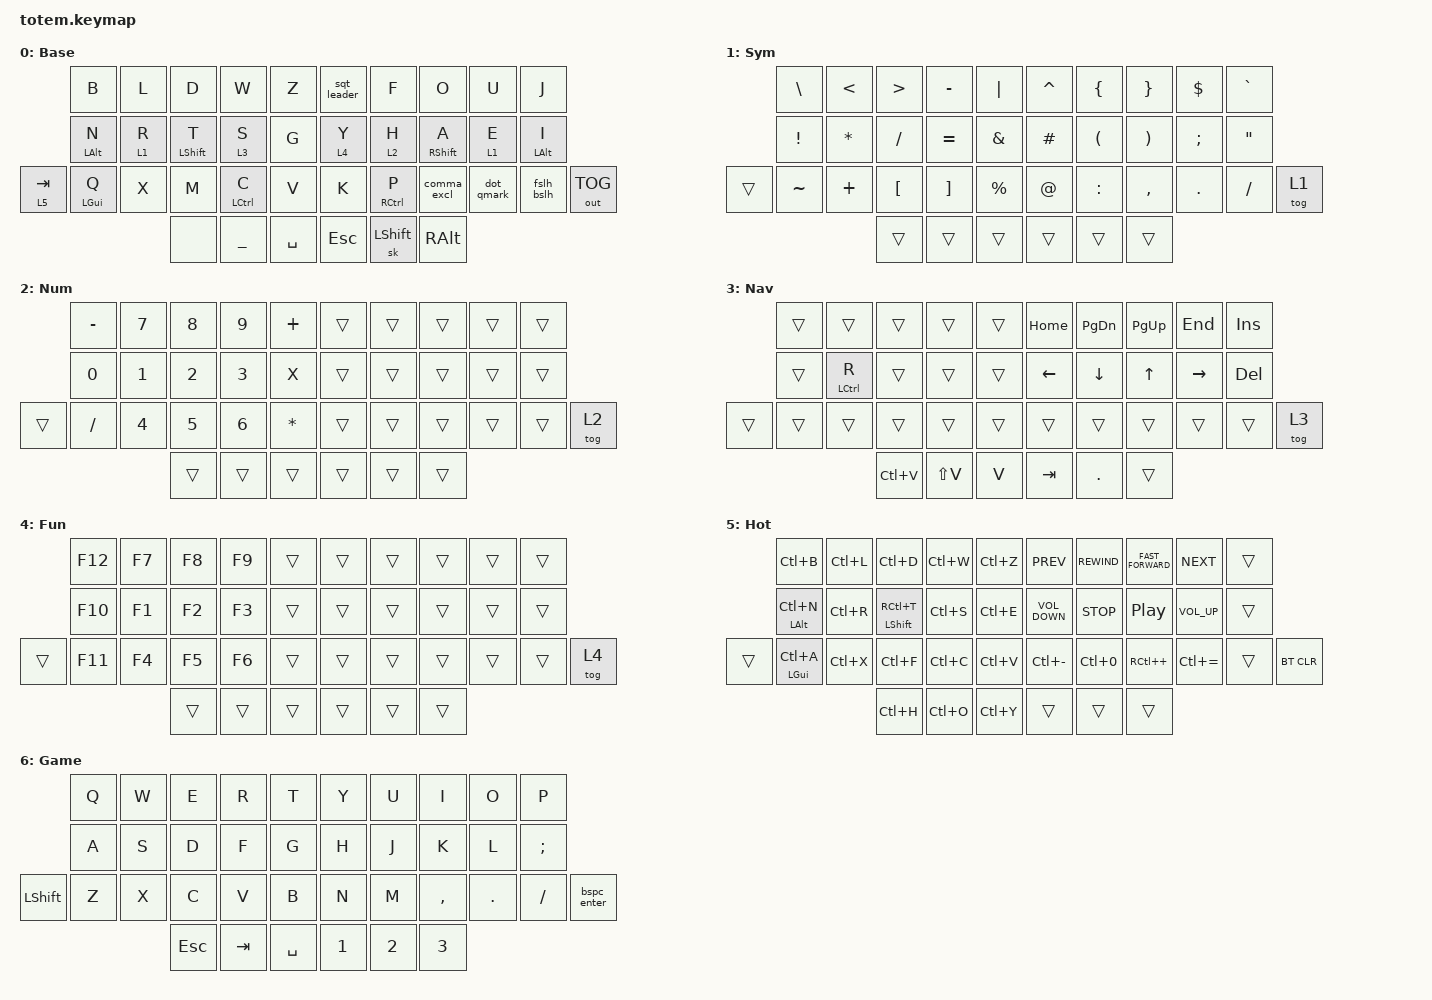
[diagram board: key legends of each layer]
#include <dt-bindings/zmk/bt.h>
#include <dt-bindings/zmk/keys.h>
#include <dt-bindings/zmk/outputs.h>
#include <behaviors.dtsi>
#include <behaviors/battery_percentage_printer.dtsi>
#include "leader.dtsi"

//
//                                                        ▀▀▀▀▀     ▀▀▀▀▀          ▀▀█▀▀
//                                                        ▄▀▀▀▄  ▄  ▄▀▀▀▄  ▄  ▄▀▀▀▄  █  ▄▀▀▀▄
//                                                        █   █  █  █   █  █  █   █  █  █   █
//                                                         ▀▀▀   █   ▀▀▀   █   ▀▀▀   ▀   ▀▀▀
//                                                               █      ▄▄▄█▄▄▄    █   █
//                                                               ▀      █  █  █     █▄█
//                                                             ▀▀▀▀▀    █  █  █      ▀
//                                                                      ▀  ▀  ▀
//
// ▄▄▄▄▄▄▄▄▄▄▄▄▄▄▄▄▄▄▄▄▄▄▄▄▄▄▄▄▄▄▄▄▄▄▄▄▄▄▄▄▄▄▄▄▄▄▄▄▄▄▄▄▄▄▄▄▄▄▄▄▄▄▄▄▄▄▄▄▄▄▄▄▄▄▄▄▄▄▄▄▄▄▄▄▄▄▄▄▄▄▄▄▄▄▄▄▄▄▄▄▄▄▄▄▄▄▄▄▄▄▄▄▄▄▄▄▄▄▄▄▄▄▄▄▄▄▄▄▄▄▄▄▄▄▄▄▄▄▄▄▄▄▄▄▄▄▄▄▄

#define Base        0
#define Nav         1
#define Sym         2
#define Fun         3
#define Game        4

&mt {
    flavor = "balanced";
    tapping-term-ms = <200>;
};

&lt {
    tapping-term-ms = <200>;
    flavor = "balanced";
};

&sk {
    quick-release;
    release-after-ms = <1500>;
};

/ {
    behaviors {
        comma_excl: comma_excl {
            compatible = "zmk,behavior-mod-morph";
            label = "COMMA_EXCL";
            bindings = <&kp COMMA>, <&kp EXCL>;

            #binding-cells = <0>;
            mods = <(MOD_LSFT|MOD_RSFT)>;
        };

        dot_qmark: dot_qmark {
            compatible = "zmk,behavior-mod-morph";
            label = "DOT_QMARK";
            bindings = <&kp DOT>, <&kp QUESTION>;

            #binding-cells = <0>;
            mods = <(MOD_LSFT|MOD_RSFT)>;
        };

        fslh_bslh: fslh_bslh {
            compatible = "zmk,behavior-mod-morph";
            label = "FSLH_BSLH";
            bindings = <&hmr RGUI SLASH>, <&hmr RGUI BACKSLASH>;

            #binding-cells = <0>;
            mods = <(MOD_LSFT|MOD_RSFT)>;
        };

        rep_adapt: rep_adapt {
            compatible = "zmk,behavior-adaptive-key";
            #binding-cells = <0>;
            bindings = <&key_repeat>;

            ao {
                trigger-keys = <A>;
                bindings = <&kp O>;
            };

            oa {
                trigger-keys = <O>;
                bindings = <&kp A>;
            };

            ue {
                trigger-keys = <U>;
                bindings = <&kp E>;
            };

            eu {
                trigger-keys = <E>;
                bindings = <&kp U>;
            };

            br {
                trigger-keys = <B>;
                bindings = <&kp R>;
            };

            ph {
                trigger-keys = <P>;
                bindings = <&kp H>;
            };

            sc {
                trigger-keys = <S>;
                bindings = <&kp C>;
            };

            gs {
                trigger-keys = <G>;
                bindings = <&kp S>;
            };
        };

        hml: homerow_mod_left {
            compatible = "zmk,behavior-hold-tap";
            label = "HOMEROW_MOD_LEFT";
            bindings = <&kp>, <&kp>;

            #binding-cells = <2>;
            tapping-term-ms = <240>;
            flavor = "balanced";
            hold-trigger-key-positions = <5 15 26 27 16 6 7 17 28 29 18 8 9 19 30 31 32 33 34 35 36 37>;
            hold-trigger-on-release;
        };

        hmr: homerow_mod_right {
            compatible = "zmk,behavior-hold-tap";
            label = "HOMEROW_MOD_RIGHT";
            bindings = <&kp>, <&kp>;

            #binding-cells = <2>;
            tapping-term-ms = <240>;
            flavor = "balanced";
            hold-trigger-key-positions = <32 33 34 35 36 37 3 4 14 25 24 13 2 23 12 11 22 1 0 21 10 20>;
            hold-trigger-on-release;
        };

        htl: homerow_tap_left {
            compatible = "zmk,behavior-hold-tap";
            label = "HOMEROW_TAP_LEFT";
            bindings = <&mo>, <&kp>;

            #binding-cells = <2>;
            tapping-term-ms = <240>;
            flavor = "balanced";
            hold-trigger-key-positions = <5 15 26 27 16 6 7 17 28 29 18 8 9 19 30 31 32 33 34 35 36 37>;
            hold-trigger-on-release;
        };

        htr: homrow_tap_right {
            compatible = "zmk,behavior-hold-tap";
            label = "HOMEROW_TAP_RIGHT";
            bindings = <&mo>, <&kp>;

            #binding-cells = <2>;
            tapping-term-ms = <240>;
            flavor = "balanced";
            hold-trigger-key-positions = <32 33 34 35 36 37 3 4 14 25 24 13 2 23 12 11 22 1 0 21 10 20>;
            hold-trigger-on-release;
        };

        bspc_enter: bspc_enter {
            compatible = "zmk,behavior-mod-morph";
            label = "BSPC_ENTER";
            bindings = <&kp BACKSPACE>, <&kp ENTER>;

            #binding-cells = <0>;
            mods = <(MOD_LSFT)>;
        };

        sqt_caps: sqt_caps {
            compatible = "zmk,behavior-mod-morph";
            label = "SQT_CAPS";
            bindings = <&kp SINGLE_QUOTE>, <&caps_word>;

            #binding-cells = <0>;
            mods = <(MOD_LSFT|MOD_RSFT)>;
        };

        dqt_grv: dqt_grv {
            compatible = "zmk,behavior-mod-morph";
            label = "DQT_GRV";
            bindings = <&hmr RGUI DOUBLE_QUOTES>, <&hmr RGUI GRAVE>;

            #binding-cells = <0>;
            mods = <(MOD_LSFT|MOD_RSFT)>;
        };

        sqt_leader: sqt_leader {
            compatible = "zmk,behavior-mod-morph";
            label = "SQT_LEADER";
            bindings = <&kp SINGLE_QUOTE>, <&leader>;

            #binding-cells = <0>;
            mods = <(MOD_LSFT|MOD_RSFT)>;
        };

        tm: thumb_mod {
            compatible = "zmk,behavior-hold-tap";
            label = "THUMB_MOD";
            bindings = <&kp>, <&kp>;

            #binding-cells = <2>;
            flavor = "balanced";
            tapping-term-ms = <280>;
        };

        tl: thumb_tap {
            compatible = "zmk,behavior-hold-tap";
            label = "THUMB_TAP";
            bindings = <&mo>, <&kp>;

            #binding-cells = <2>;
            tapping-term-ms = <280>;
            flavor = "balanced";
        };
    };

    combos {
        compatible = "zmk,combos";

        C_Backspace {
            bindings = <&kp BACKSPACE>;
            key-positions = <22 23>;
            timeout-ms = <60>;
        };

        C_Tab {
            bindings = <&kp TAB>;
            key-positions = <12 11>;
            timeout-ms = <25>;
            require-prior-idle-ms = <150>;
        };

        C_STab {
            bindings = <&kp LS(TAB)>;
            key-positions = <18 17>;
            timeout-ms = <25>;
            require-prior-idle-ms = <150>;
        };

        C_CapsWord {
            bindings = <&caps_word>;
            key-positions = <17 16>;
            timeout-ms = <25>;
            require-prior-idle-ms = <150>;
        };

        C_Enter {
            bindings = <&kp ENTER>;
            key-positions = <28 29>;
            timeout-ms = <30>;
            require-prior-idle-ms = <150>;
        };

        C_Battery_Left {
            bindings = <&bapp>;
            key-positions = <10 11 12 13>;
        };

        C_Battery_Right {
            bindings = <&bapp>;
            key-positions = <16 17 18 19>;
        };

        C_SoftOff_Left {
            bindings = <&soft_off>;
            key-positions = <21 22 23 24>;
        };

        C_SoftOff_Right {
            bindings = <&soft_off>;
            key-positions = <27 28 29 30>;
        };
    };

    macros {
        M_Updir: M_Updir {
            compatible = "zmk,behavior-macro";
            #binding-cells = <0>;
            bindings = <&kp DOT &kp DOT &kp FSLH>;
            label = "M_UPDIR";
            wait-ms = <0>;
            tap-ms = <5>;
        };
    };

    keymap {
        compatible = "zmk,keymap";

        Base {
            display-name = "Base";
            bindings = <
                 &kp B        &kp L     &kp D         &kp W         &kp Z        &sqt_leader  &kp F         &kp O         &kp U       &kp J
                 &hml LALT N  &htl 1 R  &hml LSHFT T  &htl 3 S      &kp G        &htr 4 Y     &htr 2 H      &hmr RSHFT A  &htr 1 E    &hmr LALT I
&lt 5 TAB  &hml LGUI Q  &kp X     &kp M         &hml LCTRL C  &kp V        &kp K        &hmr RCTRL P  &comma_excl   &dot_qmark  &fslh_bslh   &out OUT_TOG
                                        &none         &kp UNDER     &kp SPACE    &kp ESCAPE   &sk LSHIFT    &kp RALT
            >;
        };

        Sym {
            display-name = "Sym";
            bindings = <
        &kp BACKSLASH  &kp LT     &kp GT            &kp MINUS          &kp PIPE     &kp CARET    &kp LEFT_BRACE        &kp RIGHT_BRACE        &kp DOLLAR     &kp GRAVE
        &kp EXCL       &kp ASTRK  &kp SLASH         &kp EQUAL          &kp AMPS     &kp HASH     &kp LEFT_PARENTHESIS  &kp RIGHT_PARENTHESIS  &kp SEMICOLON  &kp DOUBLE_QUOTES
&trans  &kp TILDE      &kp PLUS   &kp LEFT_BRACKET  &kp RIGHT_BRACKET  &kp PRCNT    &kp AT_SIGN  &kp COLON             &kp COMMA              &kp PERIOD     &kp SLASH          &tog 1
                                  &trans            &trans             &trans       &trans       &trans                &trans
            >;
        };

        Num {
            display-name = "Num";
            bindings = <
        &kp MINUS     &kp N7        &kp N8        &kp N9        &kp PLUS        &trans  &trans  &trans  &trans  &trans
        &kp NUMBER_0  &kp NUMBER_1  &kp NUMBER_2  &kp NUMBER_3  &kp X           &trans  &trans  &trans  &trans  &trans
&trans  &kp SLASH     &kp NUMBER_4  &kp NUMBER_5  &kp NUMBER_6  &kp ASTERISK    &trans  &trans  &trans  &trans  &trans  &tog 2
                                    &trans        &trans        &trans          &trans  &trans  &trans
            >;
        };

        Nav {
            display-name = "Nav";
            bindings = <
        &trans  &trans        &trans     &trans     &trans    &kp HOME  &kp PAGE_DOWN  &kp PAGE_UP   &kp END    &kp INSERT
        &trans  &hml LCTRL R  &trans     &trans     &trans    &kp LEFT  &kp DOWN       &kp UP_ARROW  &kp RIGHT  &kp DELETE
&trans  &trans  &trans        &trans     &trans     &trans    &trans    &trans         &trans        &trans     &trans      &tog 3
                              &kp LC(V)  &kp LS(V)  &kp V     &kp TAB   &kp DOT        &trans
            >;
        };

        Fun {
            display-name = "Fun";
            bindings = <
        &kp F12  &kp F7  &kp F8  &kp F9  &trans    &trans  &trans  &trans  &trans  &trans
        &kp F10  &kp F1  &kp F2  &kp F3  &trans    &trans  &trans  &trans  &trans  &trans
&trans  &kp F11  &kp F4  &kp F5  &kp F6  &trans    &trans  &trans  &trans  &trans  &trans  &tog 4
                         &trans  &trans  &trans    &trans  &trans  &trans
            >;
        };

        Hot {
            display-name = "Hot";
            bindings = <
        &kp LC(B)        &kp LC(L)  &kp LC(D)              &kp LC(W)  &kp LC(Z)    &kp C_PREV         &kp C_REWIND  &kp C_FAST_FORWARD  &kp C_NEXT       &trans
        &hml LALT LC(N)  &kp LC(R)  &hml LEFT_SHIFT RC(T)  &kp LC(S)  &kp LC(E)    &kp C_VOLUME_DOWN  &kp C_STOP    &kp C_PLAY_PAUSE    &kp C_VOLUME_UP  &trans
&trans  &hml LGUI LC(A)  &kp LC(X)  &kp LC(F)              &kp LC(C)  &kp LC(V)    &kp LC(MINUS)      &kp LC(N0)    &kp RC(PLUS)        &kp LC(EQUAL)    &trans  &bt BT_CLR
                                    &kp LC(H)              &kp LC(O)  &kp LC(Y)    &trans             &trans        &trans
            >;
        };

        Game {
            display-name = "Game";
            bindings = <
           &kp Q  &kp W  &kp E    &kp R    &kp T        &kp Y         &kp U         &kp I         &kp O    &kp P
           &kp A  &kp S  &kp D    &kp F    &kp G        &kp H         &kp J         &kp K         &kp L    &kp SEMI
&kp LSHFT  &kp Z  &kp X  &kp C    &kp V    &kp B        &kp N         &kp M         &kp COMMA     &kp DOT  &kp FSLH  &bspc_enter
                         &kp ESC  &kp TAB  &kp SPACE    &kp NUMBER_1  &kp NUMBER_2  &kp NUMBER_3
            >;
        };
    };
};
